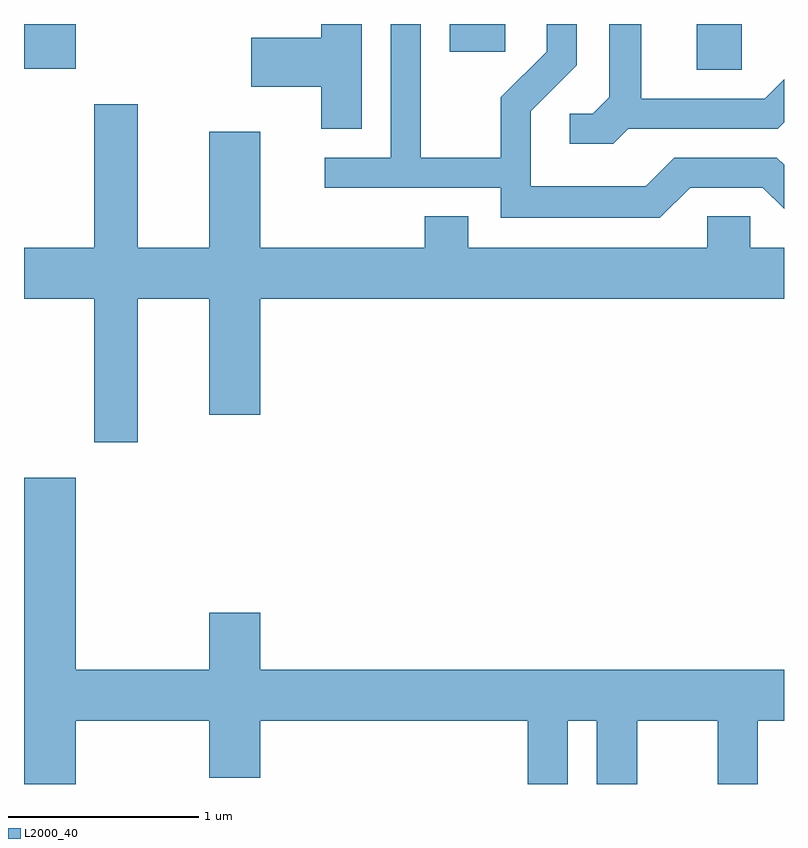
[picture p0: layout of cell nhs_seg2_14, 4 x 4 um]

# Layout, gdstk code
import gdstk
lib = gdstk.Library(unit=1e-6, precision=1e-09)
def R(c, l, rs):  # rectangles x0, y0, x1, y1
    for r in rs: c.add(gdstk.rectangle(r[:2], r[2:], *l))
def P(c, l, *ps):  # polygons
    for p in ps: c.add(gdstk.Polygon(p, *l))
L2000_40 = (2000, 40)

nhs_seg2_14 = lib.new_cell('nhs_seg2_14')
R(nhs_seg2_14, L2000_40, [(189.151,1009.561,189.389,1009.802), (185.611,1009.566,185.884,1009.802), (187.851,1009.656,188.144,1009.802)])
P(nhs_seg2_14, L2000_40, [(189.117,1008.941),(189.499,1008.941),(189.611,1008.829),(189.611,1009.06),(189.572,1009.099),(189.034,1009.099),(188.884,1008.949),(188.279,1008.949),(188.279,1009.344),(188.519,1009.584),(188.519,1009.802),(188.361,1009.802),(188.361,1009.657),(188.121,1009.417),(188.121,1009.099),(187.699,1009.099),(187.699,1009.802),(187.541,1009.802),(187.541,1009.099),(187.193,1009.099),(187.193,1008.941),(188.121,1008.941),(188.121,1008.781),(188.957,1008.781)],
  [(187.389,1009.802),(187.176,1009.802),(187.176,1009.729),(186.806,1009.729),(186.806,1009.471),(187.176,1009.471),(187.176,1009.251),(187.389,1009.251)],
  [(188.792,1009.251),(189.577,1009.251),(189.611,1009.285),(189.611,1009.512),(189.509,1009.409),(188.859,1009.409),(188.859,1009.802),(188.691,1009.802),(188.691,1009.417),(188.604,1009.329),(188.483,1009.329),(188.483,1009.171),(188.712,1009.171)],
  [(186.209,1008.356),(186.586,1008.356),(186.586,1007.746),(186.854,1007.746),(186.854,1008.356),(189.611,1008.356),(189.611,1008.624),(189.434,1008.624),(189.434,1008.789),(189.206,1008.789),(189.206,1008.624),(187.949,1008.624),(187.949,1008.789),(187.721,1008.789),(187.721,1008.624),(186.854,1008.624),(186.854,1009.234),(186.586,1009.234),(186.586,1008.624),(186.209,1008.624),(186.209,1009.379),(185.981,1009.379),(185.981,1008.624),(185.611,1008.624),(185.611,1008.356),(185.981,1008.356),(185.981,1007.601),(186.209,1007.601)],
  [(185.884,1006.136),(186.586,1006.136),(186.586,1005.836),(186.854,1005.836),(186.854,1006.136),(188.261,1006.136),(188.261,1005.802),(188.474,1005.802),(188.474,1006.136),(188.626,1006.136),(188.626,1005.802),(188.839,1005.802),(188.839,1006.136),(189.261,1006.136),(189.261,1005.802),(189.474,1005.802),(189.474,1006.136),(189.611,1006.136),(189.611,1006.404),(186.854,1006.404),(186.854,1006.704),(186.586,1006.704),(186.586,1006.404),(185.884,1006.404),(185.884,1007.414),(185.611,1007.414),(185.611,1005.802),(185.884,1005.802)])

lib.write_gds('nhs_seg2_14.gds')
